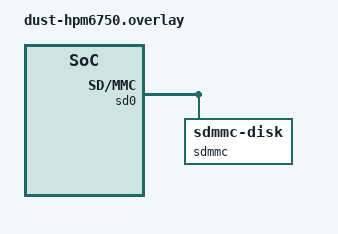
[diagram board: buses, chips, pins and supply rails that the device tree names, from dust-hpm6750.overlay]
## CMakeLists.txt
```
cmake_minimum_required(VERSION 3.20.0)

if(NOT DEFINED DTC_OVERLAY_FILE)
  set(DTC_OVERLAY_FILE "${CMAKE_CURRENT_SOURCE_DIR}/dust-hpm6750.overlay")
endif()

include(${CMAKE_CURRENT_LIST_DIR}/../common/diagnostics.cmake)

find_package(Zephyr REQUIRED HINTS $ENV{ZEPHYR_BASE})
project(sdhc_perf_test)

target_sources(app PRIVATE src/main.c)
```

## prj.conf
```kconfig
# Text diagnostics are configured by ../common/rtt.conf. UART0 is VOFA-only.
CONFIG_SDHC_LOG_LEVEL_INF=y
CONFIG_DISK_ACCESS=y
CONFIG_DISK_DRIVER_SDMMC=y
CONFIG_SDMMC_SUBSYS=y
CONFIG_SDMMC_VOLUME_NAME="SD"
CONFIG_FILE_SYSTEM=y
CONFIG_FILE_SYSTEM_SHELL=y
CONFIG_FAT_FILESYSTEM_ELM=y
CONFIG_FS_FATFS_EXFAT=y
# Never format a card automatically if mounting fails.
CONFIG_FS_FATFS_MOUNT_MKFS=n
CONFIG_FS_FATFS_MKFS=n
CONFIG_TIMING_FUNCTIONS=y
CONFIG_MAIN_STACK_SIZE=4096

# This test does not use USB.
CONFIG_CHERRYUSB=n
```

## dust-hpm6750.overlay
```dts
/*
 * SDXC0 on DUST-HPM6750.
 *
 * The disk name used by disk_access is CONFIG_SDMMC_VOLUME_NAME ("SDMMC" by
 * default). It is unrelated to the filesystem volume label printed on a PC.
 */

/ {
	aliases {
		sdhc0 = &sd0;
	};
};

&sd0 {
	status = "okay";
	max-bus-freq = <25000000>;
	pinctrl-0 = <&pinmux_sd>;
	pinctrl-1 = <&pinmux_sd>;
	pinctrl-2 = <&pinmux_sd>;
	pinctrl-3 = <&pinmux_sd>;
	pinctrl-4 = <&pinmux_sd>;
	pinctrl-names = "default", "slow", "med", "fast", "nopull";
	power-delay-ms = <100>;
	pwr-3v3-support;
	embedded-4-bit-support;

	sdmmc {
		compatible = "zephyr,sdmmc-disk";
		status = "okay";
	};
};

/* This standalone test does not use the USB controller. */
&cherryusb_usb0 { status = "disabled"; };
```

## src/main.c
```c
/**
 * @file test/sdhc_perf_test/src/main.c
 * @brief 实现应用或测试程序的入口与初始化流程。
 * @details 该文件属于独立 Zephyr 测试镜像，只验证指定外设或算法路径，不会链接进主固件。测试会直接访问目标硬件并通过串口输出判定结果。
 */

#include <stdint.h>
#include <string.h>

#include <zephyr/device.h>
#include <zephyr/drivers/sdhc.h>
#include <zephyr/kernel.h>
#include <zephyr/storage/disk_access.h>
#include <zephyr/fs/fs.h>
#include <zephyr/sys/printk.h>
#include <zephyr/sys/util.h>

#include <ff.h>

#if defined(CONFIG_DISK_DRIVER_SDMMC)
#define TEST_DISK_NAME CONFIG_SDMMC_VOLUME_NAME
#elif defined(CONFIG_DISK_DRIVER_MMC)
#define TEST_DISK_NAME CONFIG_MMC_VOLUME_NAME
#else
#define TEST_DISK_NAME "SDMMC"
#endif

#define TEST_SECTOR_SIZE 512U
#define TEST_BLOCK_COUNT 128U
#define TEST_BYTES (TEST_SECTOR_SIZE * TEST_BLOCK_COUNT)
#define TEST_ITERATIONS 8U
#define RANDOM_ITERATIONS 128U
#define TEST_MOUNT_POINT "/SD:"
#define TEST_LOG_PATH TEST_MOUNT_POINT "/SDHC_PROBE.BIN"

static uint8_t test_buf[TEST_BYTES] __aligned(32);
static uint8_t read_buf[TEST_BYTES] __aligned(32);
static uint8_t backup_buf[TEST_BYTES] __aligned(32);
static uint32_t random_sectors[RANDOM_ITERATIONS];

static uint32_t sector_count;
static uint32_t sector_size;
static uint32_t test_start_sector;
static FATFS fat_fs;
static struct fs_mount_t mount = {
	.type = FS_FATFS,
	.fs_data = &fat_fs,
	.mnt_point = TEST_MOUNT_POINT,
};

static void print_sdhc_info(void)
{
#if DT_NODE_HAS_STATUS(DT_ALIAS(sdhc0), okay)
	const struct device *sdhc = DEVICE_DT_GET(DT_ALIAS(sdhc0));
	struct sdhc_host_props props;
	int rc;

	printk("[INFO] sdhc0 ready=%d\n", device_is_ready(sdhc));
	if (!device_is_ready(sdhc)) {
		return;
	}

	rc = sdhc_card_present(sdhc);
	printk("[INFO] sdhc0 card_present=%d\n", rc);

	rc = sdhc_get_host_props(sdhc, &props);
	if (rc == 0) {
		printk("[INFO] sdhc0 f_min=%u f_max=%u 4bit=%u 1v8=%u 3v3=%u\n",
		       props.f_min, props.f_max,
		       props.host_caps.bus_4_bit_support,
		       props.host_caps.vol_180_support,
		       props.host_caps.vol_330_support);
	} else {
		printk("[WARN] sdhc_get_host_props rc=%d\n", rc);
	}
#else
	printk("[WARN] no okay sdhc0 alias in devicetree\n");
#endif
}

static uint32_t lcg_next(uint32_t *state)
{
	*state = (*state * 1664525U) + 1013904223U;
	return *state;
}

static void fill_pattern(uint32_t seed)
{
	uint32_t value = seed;

	for (uint32_t i = 0; i < sizeof(test_buf); i++) {
		test_buf[i] = (uint8_t)lcg_next(&value);
	}
}

static uint64_t elapsed_us(int64_t start_us)
{
	int64_t elapsed = k_uptime_get() * 1000LL - start_us;

	return (elapsed > 0) ? (uint64_t)elapsed : 1U;
}

static void print_rate(const char *name, uint32_t bytes, uint64_t elapsed_us_value)
{
	uint64_t bytes_per_s = ((uint64_t)bytes * 1000000ULL) / elapsed_us_value;
	uint64_t kib_per_s = bytes_per_s / 1024ULL;
	uint64_t mib_x100 = (bytes_per_s * 100ULL) / (1024ULL * 1024ULL);

	printk("%s: %u bytes in %llu us, %llu KiB/s, %llu.%02llu MiB/s\n",
	       name, bytes, elapsed_us_value, kib_per_s,
	       mib_x100 / 100ULL, mib_x100 % 100ULL);
}

static int init_disk(void)
{
	int rc;

	printk("sdhc_perf_test booted, disk=%s\n", TEST_DISK_NAME);
	print_sdhc_info();

	printk("[INFO] calling disk_access_init(%s)\n", TEST_DISK_NAME);
	rc = disk_access_init(TEST_DISK_NAME);
	printk("[INFO] disk_access_init rc=%d\n", rc);
	if (rc != 0) {
		printk("[FAIL] disk_access_init rc=%d\n", rc);
		return rc;
	}

	rc = disk_access_status(TEST_DISK_NAME);
	if (rc != DISK_STATUS_OK) {
		printk("[FAIL] disk status rc=%d\n", rc);
		return -EIO;
	}

	rc = disk_access_ioctl(TEST_DISK_NAME, DISK_IOCTL_GET_SECTOR_COUNT, &sector_count);
	if (rc != 0) {
		printk("[FAIL] get sector count rc=%d\n", rc);
		return rc;
	}

	rc = disk_access_ioctl(TEST_DISK_NAME, DISK_IOCTL_GET_SECTOR_SIZE, &sector_size);
	if (rc != 0) {
		printk("[FAIL] get sector size rc=%d\n", rc);
		return rc;
	}

	printk("[INFO] sectors=%u sector_size=%u capacity=%llu MiB\n",
	       sector_count, sector_size,
	       ((uint64_t)sector_count * sector_size) / (1024ULL * 1024ULL));

	if (sector_size != TEST_SECTOR_SIZE) {
		printk("[FAIL] unsupported sector size %u\n", sector_size);
		return -ENOTSUP;
	}

	if (sector_count <= (TEST_BLOCK_COUNT + 4096U)) {
		printk("[FAIL] card is too small for test window\n");
		return -ENOSPC;
	}

	test_start_sector = sector_count - TEST_BLOCK_COUNT - 2048U;
	printk("[INFO] test window: start_sector=%u blocks=%u bytes=%u\n",
	       test_start_sector, TEST_BLOCK_COUNT, TEST_BYTES);

	return 0;
}

static int filesystem_test(void)
{
	static const char log_text[] =
		"PX4-style TF log test\n"
		"hpm6750 sdc0 filesystem write/read verified\n";
	char readback[sizeof(log_text)];
	struct fs_file_t file;
	ssize_t n;
	int rc;

	rc = fs_mount(&mount);
	if (rc != 0) {
		printk("[FAIL] FAT mount %s rc=%d\n", TEST_MOUNT_POINT, rc);
		return rc;
	}
	printk("[PASS] FAT mounted at %s\n", TEST_MOUNT_POINT);

	fs_file_t_init(&file);
	rc = fs_open(&file, TEST_LOG_PATH, FS_O_CREATE | FS_O_RDWR);
	if (rc != 0) {
		printk("[FAIL] open %s rc=%d\n", TEST_LOG_PATH, rc);
		goto out_unmount;
	}

	rc = fs_truncate(&file, 0);
	if (rc == 0) {
		n = fs_write(&file, log_text, sizeof(log_text));
		if (n != (ssize_t)sizeof(log_text)) {
			printk("[FAIL] log write bytes=%d expected=%u\n", (int)n,
			       (unsigned int)sizeof(log_text));
			rc = (n < 0) ? (int)n : -EIO;
		}
	}
	if (rc == 0) {
		rc = fs_sync(&file);
		if (rc != 0) {
			printk("[FAIL] log sync rc=%d\n", rc);
		}
	}
	if (rc == 0) {
		rc = fs_seek(&file, 0, FS_SEEK_SET);
	}
	if (rc == 0) {
		n = fs_read(&file, readback, sizeof(readback));
		if (n != (ssize_t)sizeof(log_text) ||
		    memcmp(readback, log_text, sizeof(log_text)) != 0) {
			printk("[FAIL] log readback mismatch bytes=%d\n", (int)n);
			rc = -EIO;
		}
	}
	fs_close(&file);
	if (rc == 0) {
		printk("[PASS] file write/read verified: %s\n", TEST_LOG_PATH);
		(void)fs_unlink(TEST_LOG_PATH);
		printk("[PASS] FAT remains mounted for RTT fs shell\n");
		return 0;
	}

out_unmount:
	if (fs_unmount(&mount) != 0 && rc == 0) {
		rc = -EIO;
	}
	return rc;
}

static void dump_boot_sector(void)
{
	uint8_t *sector = read_buf;
	uint32_t partition_lba;
	int rc = disk_access_read(TEST_DISK_NAME, sector, 0, 1);

	if (rc != 0) {
		printk("[INFO] boot-sector read rc=%d\n", rc);
		return;
	}

	printk("[INFO] sector0: jump=%02x %02x %02x oem=%c%c%c%c%c%c%c%c\n",
	       sector[0], sector[1], sector[2], sector[3], sector[4], sector[5],
	       sector[6], sector[7], sector[8], sector[9], sector[10]);
	printk("[INFO] sector0: sig=%02x%02x part0=%02x type=%02x lba=%02x%02x%02x%02x count=%02x%02x%02x%02x\n",
	       sector[511], sector[510], sector[446], sector[446 + 4],
	       sector[446 + 8], sector[446 + 9], sector[446 + 10], sector[446 + 11],
	       sector[446 + 12], sector[446 + 13], sector[446 + 14], sector[446 + 15]);

	partition_lba = (uint32_t)sector[446 + 8] |
		((uint32_t)sector[446 + 9] << 8) |
		((uint32_t)sector[446 + 10] << 16) |
		((uint32_t)sector[446 + 11] << 24);
	if (partition_lba == 0U || partition_lba >= sector_count) {
		return;
	}

	rc = disk_access_read(TEST_DISK_NAME, sector, partition_lba, 1);
	if (rc != 0) {
		printk("[INFO] partition boot-sector read lba=%u rc=%d\n",
		       partition_lba, rc);
		return;
	}
	printk("[INFO] partition boot lba=%u: jump=%02x %02x %02x oem=%c%c%c%c%c%c%c%c fs=%c%c%c%c%c%c%c%c\n",
	       partition_lba, sector[0], sector[1], sector[2],
	       sector[3], sector[4], sector[5], sector[6], sector[7],
	       sector[8], sector[9], sector[10], sector[82], sector[83],
	       sector[84], sector[85], sector[86], sector[87], sector[88], sector[89]);
	printk("[INFO] FAT BPB: bytes=%u sec/clus=%u reserved=%u fats=%u fat_sz=%u root=%u sig=%02x%02x\n",
	       (uint16_t)sector[11] | ((uint16_t)sector[12] << 8), sector[13],
	       (uint16_t)sector[14] | ((uint16_t)sector[15] << 8), sector[16],
	       (uint32_t)sector[36] | ((uint32_t)sector[37] << 8) |
	       ((uint32_t)sector[38] << 16) | ((uint32_t)sector[39] << 24),
	       (uint32_t)sector[44] | ((uint32_t)sector[45] << 8) |
	       ((uint32_t)sector[46] << 16) | ((uint32_t)sector[47] << 24),
	       sector[511], sector[510]);
}

static int sequential_read_test(void)
{
	uint64_t total_us = 0U;
	int rc = 0;

	for (uint32_t i = 0; i < TEST_ITERATIONS; i++) {
		int64_t start_us = k_uptime_get() * 1000LL;

		rc = disk_access_read(TEST_DISK_NAME, read_buf, test_start_sector, TEST_BLOCK_COUNT);
		total_us += elapsed_us(start_us);
		if (rc != 0) {
			printk("[FAIL] sequential read rc=%d\n", rc);
			return rc;
		}
	}

	print_rate("[READ seq avg]", TEST_BYTES, total_us / TEST_ITERATIONS);
	return 0;
}

static int write_size_sweep(void)
{
	static const uint32_t block_counts[] = {1U, 8U, 16U, 64U};
	int rc;

	rc = disk_access_read(TEST_DISK_NAME, backup_buf, test_start_sector, TEST_BLOCK_COUNT);
	if (rc != 0) {
		printk("[FAIL] backup read rc=%d\n", rc);
		return rc;
	}

	for (uint32_t size_index = 0; size_index < ARRAY_SIZE(block_counts); size_index++) {
		const uint32_t blocks = block_counts[size_index];
		const uint32_t bytes = blocks * TEST_SECTOR_SIZE;
		int64_t start_us;
		uint64_t write_us;

		fill_pattern(0x6750U + blocks);
		start_us = k_uptime_get() * 1000LL;
		rc = disk_access_write(TEST_DISK_NAME, test_buf, test_start_sector, blocks);
		write_us = elapsed_us(start_us);
		if (rc != 0) {
			printk("[FAIL] write-size bytes=%u blocks=%u rc=%d\n",
			       bytes, blocks, rc);
			goto restore;
		}
		rc = disk_access_read(TEST_DISK_NAME, read_buf, test_start_sector, blocks);
		if (rc != 0 || memcmp(test_buf, read_buf, bytes) != 0) {
			printk("[FAIL] write-size verify bytes=%u read_rc=%d\n", bytes, rc);
			rc = -EIO;
			goto restore;
		}
		print_rate("[PASS write-size]", bytes, write_us);
		rc = disk_access_write(TEST_DISK_NAME, backup_buf, test_start_sector, blocks);
		if (rc != 0) {
			printk("[FAIL] restore bytes=%u rc=%d\n", bytes, rc);
			return rc;
		}
	}
	return 0;

restore:
	(void)disk_access_write(TEST_DISK_NAME, backup_buf, test_start_sector, TEST_BLOCK_COUNT);
	return rc;
}

static int single_block_latency_test(void)
{
	uint64_t read_total_us = 0U;
	uint64_t write_total_us = 0U;
	int rc;

	rc = disk_access_read(TEST_DISK_NAME, backup_buf, test_start_sector, 1);
	if (rc != 0) {
		printk("[FAIL] single backup read rc=%d\n", rc);
		return rc;
	}

	fill_pattern(0x512U);

	for (uint32_t i = 0; i < TEST_ITERATIONS; i++) {
		int64_t start_us = k_uptime_get() * 1000LL;

		rc = disk_access_read(TEST_DISK_NAME, read_buf, test_start_sector, 1);
		read_total_us += elapsed_us(start_us);
		if (rc != 0) {
			printk("[FAIL] single read rc=%d\n", rc);
			goto restore;
		}

		start_us = k_uptime_get() * 1000LL;
		rc = disk_access_write(TEST_DISK_NAME, test_buf, test_start_sector, 1);
		write_total_us += elapsed_us(start_us);
		if (rc != 0) {
			printk("[FAIL] single write rc=%d\n", rc);
			goto restore;
		}
	}

	printk("[LAT read 512B avg]: %llu us\n", read_total_us / TEST_ITERATIONS);
	printk("[LAT write 512B avg]: %llu us\n", write_total_us / TEST_ITERATIONS);

restore:
	(void)disk_access_write(TEST_DISK_NAME, backup_buf, test_start_sector, 1);
	return rc;
}

static int random_read_test(void)
{
	uint32_t rng = 0x12345678U;
	int64_t start_us;
	uint64_t total_us;
	int rc = 0;

	for (uint32_t i = 0; i < RANDOM_ITERATIONS; i++) {
		random_sectors[i] = test_start_sector +
				    (lcg_next(&rng) % TEST_BLOCK_COUNT);
	}

	start_us = k_uptime_get() * 1000LL;
	for (uint32_t i = 0; i < RANDOM_ITERATIONS; i++) {
		rc = disk_access_read(TEST_DISK_NAME, read_buf, random_sectors[i], 1);
		if (rc != 0) {
			printk("[FAIL] random read rc=%d\n", rc);
			return rc;
		}
	}
	total_us = elapsed_us(start_us);

	printk("[READ random 512B]: %u ops in %llu us, %llu IOPS, avg %llu us/op\n",
	       RANDOM_ITERATIONS, total_us,
	       ((uint64_t)RANDOM_ITERATIONS * 1000000ULL) / total_us,
	       total_us / RANDOM_ITERATIONS);

	return 0;
}

int main(void)
{
	int rc = init_disk();

	if (rc != 0) {
		return rc;
	}

	rc = filesystem_test();
	if (rc != 0) {
		dump_boot_sector();
		printk("sdhc filesystem test failed\n");
		return rc;
	}

	printk("[WARN] write tests temporarily overwrite and restore the test window.\n");

	rc = sequential_read_test();
	if (rc == 0) {
		rc = write_size_sweep();
	}
	if (rc == 0) {
		rc = single_block_latency_test();
	}
	if (rc == 0) {
		rc = random_read_test();
	}

	printk("sdhc_perf_test %s\n", (rc == 0) ? "done" : "failed");
	return rc;
}
```
